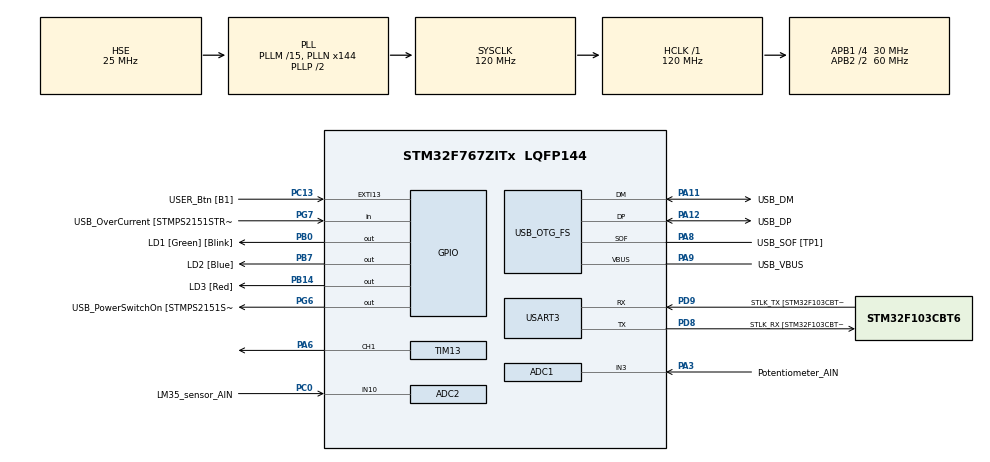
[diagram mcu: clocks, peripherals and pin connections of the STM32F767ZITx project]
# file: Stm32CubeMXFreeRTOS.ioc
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ADC1.Channel-4\#ChannelRegularConversion=ADC_CHANNEL_3
ADC1.ClockPrescaler=ADC_CLOCK_SYNC_PCLK_DIV4
ADC1.ContinuousConvMode=ENABLE
ADC1.EOCSelection=ADC_EOC_SEQ_CONV
ADC1.NbrOfConversionFlag=1
ADC1.Rank-4\#ChannelRegularConversion=1
ADC1.Resolution=ADC_RESOLUTION_10B
ADC1.SamplingTime-4\#ChannelRegularConversion=ADC_SAMPLETIME_3CYCLES
ADC1.master=1
ADC2.Channel-1\#ChannelRegularConversion=ADC_CHANNEL_10
ADC2.ClockPrescaler=ADC_CLOCK_SYNC_PCLK_DIV4
ADC2.ContinuousConvMode=ENABLE
ADC2.EOCSelection=ADC_EOC_SEQ_CONV
ADC2.NbrOfConversionFlag=1
ADC2.Rank-1\#ChannelRegularConversion=1
ADC2.SamplingTime-1\#ChannelRegularConversion=ADC_SAMPLETIME_3CYCLES
FREERTOS.Events01=ISREvent,Static,ISREventControlBlock
FREERTOS.Queues01=msg_Queue,16,QUEUE_t,0,Static,msg_QueueBuffer,msg_QueueControlBlock
FREERTOS.Tasks01=defaultTask,24,128,StartDefaultTask,Default,NULL,Dynamic,NULL,NULL;BlinkyTask,8,128,StartBlinkyTask,Default,NULL,Dynamic,NULL,NULL;adcReadValueT,8,128,adcReadValueTask,Default,NULL,Static,adcReadValueTBuffer,adcReadValueTControlBlock;readTempT,8,128,readTempTask,Default,NULL,Static,myTask04Buffer,myTask04ControlBlock;pwmLedBrightnes,8,128,pwmLedBrightnessTask,Default,NULL,Static,pwmLedBrightnesBuffer,pwmLedBrightnesControlBlock;usartDebugPrint,8,128,usartDebugPrintTask,Default,NULL,Static,usartDebugPrintBuffer,usartDebugPrintControlBlock;checkISRStateT,24,256,checkISRStateTask,Default,NULL,Static,checkISRStateTBuffer,checkISRStateTControlBlock;rtosRuntimeStat,8,128,rtosRuntimeStatsTask,Default,NULL,Static,rtosRuntimeStatBuffer,rtosRuntimeStatControlBlock
FREERTOS.configGENERATE_RUN_TIME_STATS=1
FREERTOS.configUSE_NEWLIB_REENTRANT=1
FREERTOS.configUSE_STATS_FORMATTING_FUNCTIONS=1
Mcu.Family=STM32F7
Mcu.Name=STM32F767ZITx
Mcu.Package=LQFP144
NVIC.EXTI15_10_IRQn=true\:5\:0\:false\:false\:true\:true\:true\:true\:true
NVIC.PriorityGroup=NVIC_PRIORITYGROUP_4
NVIC.TIM1_UP_TIM10_IRQn=true\:5\:0\:false\:false\:true\:false\:true\:true\:true
NVIC.TIM8_UP_TIM13_IRQn=true\:15\:0\:false\:false\:true\:false\:false\:true\:true
NVIC.TimeBase=TIM8_UP_TIM13_IRQn
NVIC.TimeBaseIP=TIM8
PA11.GPIO_Label=USB_DM
PA11.Mode=Device_Only
PA11.Signal=USB_OTG_FS_DM
PA12.GPIO_Label=USB_DP
PA12.Mode=Device_Only
PA12.Signal=USB_OTG_FS_DP
PA13.GPIO_Label=TMS
PA13.Mode=Trace_Asynchronous_SW
PA13.Signal=SYS_JTMS-SWDIO
PA14.GPIO_Label=TCK
PA14.Mode=Trace_Asynchronous_SW
PA14.Signal=SYS_JTCK-SWCLK
PA3.GPIO_Label=Potentiometer_AIN
PA3.Signal=ADCx_IN3
PA6.Signal=S_TIM13_CH1
PA8.GPIO_Label=USB_SOF [TP1]
PA8.Mode=Activate_SOF_FS
PA8.Signal=USB_OTG_FS_SOF
PA9.GPIO_Label=USB_VBUS
PA9.Mode=Activate_VBUS
PA9.Signal=USB_OTG_FS_VBUS
PB0.GPIO_Label=LD1 [Green] [Blink]
PB0.Signal=GPIO_Output
PB14.GPIO_Label=LD3 [Red]
PB14.Signal=GPIO_Output
PB3.Mode=Trace_Asynchronous_SW
PB3.Signal=SYS_JTDO-SWO
PB7.GPIO_Label=LD2 [Blue]
PB7.Signal=GPIO_Output
PC0.GPIO_Label=LM35_sensor_AIN
PC0.Signal=ADCx_IN10
PC13.GPIO_Label=USER_Btn [B1]
PC13.GPIO_ModeDefaultEXTI=GPIO_MODE_IT_FALLING
PC13.GPIO_PuPd=GPIO_NOPULL
PC13.Signal=GPXTI13
PC14/OSC32_IN.Mode=LSE-External-Oscillator
PC14/OSC32_IN.Signal=RCC_OSC32_IN
PC15/OSC32_OUT.Mode=LSE-External-Oscillator
PC15/OSC32_OUT.Signal=RCC_OSC32_OUT
PD8.GPIO_Label=STLK_RX [STM32F103CBT6_PA3]
PD8.Mode=Asynchronous
PD8.Signal=USART3_TX
PD9.GPIO_Label=STLK_TX [STM32F103CBT6_PA2]
PD9.Mode=Asynchronous
PD9.Signal=USART3_RX
PG6.GPIO_Label=USB_PowerSwitchOn [STMPS2151STR_EN]
PG6.Signal=GPIO_Output
PG7.GPIO_Label=USB_OverCurrent [STMPS2151STR_FAULT]
PG7.Signal=GPIO_Input
PH0/OSC_IN.GPIO_Label=MCO [STM32F103CBT6_PA8]
PH0/OSC_IN.Mode=HSE-External-Oscillator
PH0/OSC_IN.Signal=RCC_OSC_IN
PH1/OSC_OUT.Mode=HSE-External-Oscillator
PH1/OSC_OUT.Signal=RCC_OSC_OUT
ProjectManager.HeapSize=0x200
ProjectManager.StackSize=0x400
ProjectManager.TargetToolchain=STM32CubeIDE
RCC.48MHZClocksFreq_Value=24000000
RCC.AHBFreq_Value=120000000
RCC.APB1CLKDivider=RCC_HCLK_DIV4
RCC.APB1Freq_Value=30000000
RCC.APB1TimFreq_Value=60000000
RCC.APB2CLKDivider=RCC_HCLK_DIV2
RCC.APB2Freq_Value=60000000
RCC.APB2TimFreq_Value=120000000
RCC.CortexFreq_Value=120000000
RCC.HCLKFreq_Value=120000000
RCC.HSE_VALUE=25000000
RCC.HSI_VALUE=16000000
RCC.PLLM=15
RCC.PLLMUL=RCC_PLL_MUL9
RCC.PLLN=144
RCC.PLLQ=5
RCC.PRESCALERUSB=RCC_USBCLKSOURCE_PLL_DIV1_5
RCC.SYSCLKFreq_VALUE=120000000
RCC.SYSCLKSource=RCC_SYSCLKSOURCE_PLLCLK
RCC.SYSCLKSourceVirtual=RCC_SYSCLKSOURCE_PLLCLK
RCC.USART3CLockSelection=RCC_USART3CLKSOURCE_HSI
RCC.USBFreq_Value=48000000
RCC.VCOOutputFreq_Value=240000000
SH.ADCx_IN10.0=ADC2_IN10,IN10
SH.ADCx_IN3.0=ADC1_IN3,IN3
SH.S_TIM13_CH1.0=TIM13_CH1,PWM Generation1 CH1
TIM10.Period=956
TIM13.Channel=TIM_CHANNEL_1
TIM13.Period=1023
TIM13.Prescaler=0
USART3.VirtualMode-Asynchronous=VM_ASYNC
USB_OTG_FS.VirtualMode=Device_Only
VP_FREERTOS_VS_CMSIS_V2.Mode=CMSIS_V2
VP_SYS_VS_tim8.Mode=TIM8
VP_TIM10_VS_ClockSourceINT.Mode=Enable_Timer
VP_TIM13_VS_ClockSourceINT.Mode=Enable_Timer
board=NUCLEO-F767ZI

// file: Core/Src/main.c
/* USER CODE BEGIN Header */
/**
  ******************************************************************************
  * @file           : main.c
  * @brief          : Main program body
  ******************************************************************************
  * @attention
  *
  * Copyright (c) 2023 STMicroelectronics.
  * All rights reserved.
  *
  * This software is licensed under terms that can be found in the LICENSE file
  * in the root directory of this software component.
  * If no LICENSE file comes with this software, it is provided AS-IS.
  *
  ******************************************************************************
  */
/* USER CODE END Header */
#include "main.h"
#include "cmsis_os.h"

/* USER CODE BEGIN Includes */
#include "string.h"
#include "stdlib.h"
#include "stdio.h"
#include "stdbool.h"
/* USER CODE END Includes */
#if (SYSPROG_PROFILER == 1)
#include <SysprogsProfiler.h>
#endif
typedef StaticTask_t osStaticThreadDef_t;
typedef StaticQueue_t osStaticMessageQDef_t;
typedef StaticEventGroup_t osStaticEventGroupDef_t;
/* USER CODE BEGIN PTD */

typedef struct {
	char msg_buf[120];
	uint16_t adc_val;
} QUEUE_t;

/* USER CODE END PTD */

/* USER CODE BEGIN PD */
#define ADC_RESOLUTION          (uint16_t)(4095)
#define ADC_VREF                (uint16_t)(3300)
#define TM35_MV_TO_C						(10)
#define LED_ISR_FLAG			(uint32_t)(0x51)

/* USER CODE END PD */

ADC_HandleTypeDef hadc1;
ADC_HandleTypeDef hadc2;

TIM_HandleTypeDef htim10;
TIM_HandleTypeDef htim13;

UART_HandleTypeDef huart3;

PCD_HandleTypeDef hpcd_USB_OTG_FS;

/* Definitions for defaultTask */
osThreadId_t defaultTaskHandle;
const osThreadAttr_t defaultTask_attributes = {
	.name = "defaultTask",
	.stack_size = 128 * 4,
	.priority = (osPriority_t) osPriorityNormal,
};
/* Definitions for BlinkyTask */
osThreadId_t BlinkyTaskHandle;
const osThreadAttr_t BlinkyTask_attributes = {
	.name = "BlinkyTask",
	.stack_size = 128 * 4,
	.priority = (osPriority_t) osPriorityLow,
};
/* Definitions for adcReadValueT */
osThreadId_t adcReadValueTHandle;
uint32_t adcReadValueTBuffer[128];
osStaticThreadDef_t adcReadValueTControlBlock;
const osThreadAttr_t adcReadValueT_attributes = {
	.name = "adcReadValueT",
	.cb_mem = &adcReadValueTControlBlock,
	.cb_size = sizeof(adcReadValueTControlBlock),
	.stack_mem = &adcReadValueTBuffer[0],
	.stack_size = sizeof(adcReadValueTBuffer),
	.priority = (osPriority_t) osPriorityLow,
};
/* Definitions for readTempT */
osThreadId_t readTempTHandle;
uint32_t myTask04Buffer[128];
osStaticThreadDef_t myTask04ControlBlock;
const osThreadAttr_t readTempT_attributes = {
	.name = "readTempT",
	.cb_mem = &myTask04ControlBlock,
	.cb_size = sizeof(myTask04ControlBlock),
	.stack_mem = &myTask04Buffer[0],
	.stack_size = sizeof(myTask04Buffer),
	.priority = (osPriority_t) osPriorityLow,
};
/* Definitions for pwmLedBrightnes */
osThreadId_t pwmLedBrightnesHandle;
uint32_t pwmLedBrightnesBuffer[128];
osStaticThreadDef_t pwmLedBrightnesControlBlock;
const osThreadAttr_t pwmLedBrightnes_attributes = {
	.name = "pwmLedBrightnes",
	.cb_mem = &pwmLedBrightnesControlBlock,
	.cb_size = sizeof(pwmLedBrightnesControlBlock),
	.stack_mem = &pwmLedBrightnesBuffer[0],
	.stack_size = sizeof(pwmLedBrightnesBuffer),
	.priority = (osPriority_t) osPriorityLow,
};
/* Definitions for usartDebugPrint */
osThreadId_t usartDebugPrintHandle;
uint32_t usartDebugPrintBuffer[128];
osStaticThreadDef_t usartDebugPrintControlBlock;
const osThreadAttr_t usartDebugPrint_attributes = {
	.name = "usartDebugPrint",
	.cb_mem = &usartDebugPrintControlBlock,
	.cb_size = sizeof(usartDebugPrintControlBlock),
	.stack_mem = &usartDebugPrintBuffer[0],
	.stack_size = sizeof(usartDebugPrintBuffer),
	.priority = (osPriority_t) osPriorityLow,
};
/* Definitions for checkISRStateT */
osThreadId_t checkISRStateTHandle;
uint32_t checkISRStateTBuffer[256];
osStaticThreadDef_t checkISRStateTControlBlock;
const osThreadAttr_t checkISRStateT_attributes = {
	.name = "checkISRStateT",
	.cb_mem = &checkISRStateTControlBlock,
	.cb_size = sizeof(checkISRStateTControlBlock),
	.stack_mem = &checkISRStateTBuffer[0],
	.stack_size = sizeof(checkISRStateTBuffer),
	.priority = (osPriority_t) osPriorityNormal,
};
/* Definitions for rtosRuntimeStat */
osThreadId_t rtosRuntimeStatHandle;
uint32_t rtosRuntimeStatBuffer[128];
osStaticThreadDef_t rtosRuntimeStatControlBlock;
const osThreadAttr_t rtosRuntimeStat_attributes = {
	.name = "rtosRuntimeStat",
	.cb_mem = &rtosRuntimeStatControlBlock,
	.cb_size = sizeof(rtosRuntimeStatControlBlock),
	.stack_mem = &rtosRuntimeStatBuffer[0],
	.stack_size = sizeof(rtosRuntimeStatBuffer),
	.priority = (osPriority_t) osPriorityLow,
};
/* Definitions for msg_Queue */
osMessageQueueId_t msg_QueueHandle;
uint8_t msg_QueueBuffer[16 * sizeof(QUEUE_t)];
osStaticMessageQDef_t msg_QueueControlBlock;
const osMessageQueueAttr_t msg_Queue_attributes = {
	.name = "msg_Queue",
	.cb_mem = &msg_QueueControlBlock,
	.cb_size = sizeof(msg_QueueControlBlock),
	.mq_mem = &msg_QueueBuffer,
	.mq_size = sizeof(msg_QueueBuffer)
};
/* Definitions for ISREvent */
osEventFlagsId_t ISREventHandle;
osStaticEventGroupDef_t ISREventControlBlock;
const osEventFlagsAttr_t ISREvent_attributes = {
	.name = "ISREvent",
	.cb_mem = &ISREventControlBlock,
	.cb_size = sizeof(ISREventControlBlock),
};
/* USER CODE BEGIN PV */
#if (FREERTOS_PROFILER == 1)
volatile unsigned long ulHighFrequencyTimerTicks;
#endif

TaskHandle_t myTaskLedBlink = NULL;

osEventFlagsId_t EventGroup1;
/* USER CODE END PV */

void SystemClock_Config(void);
static void MX_GPIO_Init(void);
static void MX_USB_OTG_FS_PCD_Init(void);
static void MX_ADC1_Init(void);
static void MX_TIM13_Init(void);
static void MX_ADC2_Init(void);
static void MX_TIM10_Init(void);
static void MX_USART3_UART_Init(void);
void StartDefaultTask(void *argument);
void StartBlinkyTask(void *argument);
void adcReadValueTask(void *argument);
void readTempTask(void *argument);
void pwmLedBrightnessTask(void *argument);
void usartDebugPrintTask(void *argument);
void checkISRStateTask(void *argument);
void rtosRuntimeStatsTask(void *argument);

/* USER CODE BEGIN PFP */
void ledBlinkBlue(void *pvParameters);
static uint16_t getTemperature(uint16_t adc_raw_value);
static void printUsartMessage(char* message);

void configureTimerForRunTimeStats(void);
unsigned long getRunTimeCounterValue(void);
/* USER CODE END PFP */

/* USER CODE BEGIN 0 */

/*
 *You will see that real-time watch window will be empty.
 *This happens because the default implementation of the
 *instrumenting profiler and real-time watch relies on the
 *debug cycle count register (DWT_CYCCNT) that is not supported
 *on STM32F7 and is hence always zero
 *
 *The StartDelayCountingTimer() function will configure TIM3
 *to run at half the system clock speed.
 *As the hardware counter is only 16 bits wide,
 *the TIM3_IRQHandler() function will increase
 *the g_TimerCounter value each time an overflow happens
 *to keep the track of the global time.
 *The SysprogsInstrumentingProfiler_ReadTimerValue()
 *function will read the TIM3 counter value and combine
 *it with the g_TimerCounter to get a 48-bit value.
 *Finally SysprogsInstrumentingProfiler_QueryAndResetPerformanceCounter()
 *called by the profiler will return the amount of ticks passed since the last call to it.
 **/
#if (STM32_F7_TIMER_SRC == 1)
static TIM_HandleTypeDef s_TimerInstance = {
    .Instance = TIM3
};

static unsigned g_TimerCounter;

extern void TIM3_IRQHandler()
{
    HAL_TIM_IRQHandler(&s_TimerInstance);
    g_TimerCounter++;
}

void StartDelayCountingTimer()
{
    __TIM3_CLK_ENABLE();
    s_TimerInstance.Init.Prescaler = 1;
    s_TimerInstance.Init.CounterMode = TIM_COUNTERMODE_UP;
    s_TimerInstance.Init.Period = 0xFFFF;
    s_TimerInstance.Init.ClockDivision = TIM_CLOCKDIVISION_DIV1;
    s_TimerInstance.Init.RepetitionCounter = 0;
    HAL_TIM_Base_Init(&s_TimerInstance);
    HAL_TIM_Base_Start_IT(&s_TimerInstance);
    HAL_NVIC_EnableIRQ(TIM3_IRQn);
    HAL_NVIC_SetPriority(TIM3_IRQn, 7, 0);
}

unsigned long long SysprogsInstrumentingProfiler_ReadTimerValue()
{
    int primask = __get_PRIMASK();
    __set_PRIMASK(1);
    unsigned lowWord = __HAL_TIM_GET_COUNTER(&s_TimerInstance);
    unsigned highWord;
    if (lowWord < 1024)
    {
        highWord = g_TimerCounter;
        if (HAL_NVIC_GetPendingIRQ(TIM3_IRQn))
            highWord++;
    }
    else
        highWord = g_TimerCounter;
    __set_PRIMASK(primask);

    return (((unsigned long long)highWord) << 16) | lowWord;
}

extern unsigned SysprogsInstrumentingProfiler_QueryAndResetPerformanceCounter()
{
    static unsigned long long s_PrevValue;
    unsigned long long value = SysprogsInstrumentingProfiler_ReadTimerValue();
    unsigned long long elapsed = value - s_PrevValue;
    s_PrevValue = value;
    if (elapsed > UINT32_MAX)
        return UINT32_MAX;
    else
        return (unsigned)elapsed;
}
#endif

#if (SWO_DEBUG == 1)

/* Override low-level _write system call */
int _write(int file, char *ptr, int len)
{
	/* Implement your write code here, this is used by puts and printf for example */
	int i = 0;
	for (i = 0; i < len; i++)
		ITM_SendChar((*ptr++));
	return len;
}

#endif
/* USER CODE END 0 */

int main(void)
{

	/* MCU Configuration--------------------------------------------------------*/

	/* Reset of all peripherals, Initializes the Flash interface and the Systick. */
	HAL_Init();

	/* Configure the system clock */
	SystemClock_Config();

	/* USER CODE BEGIN SysInit */
	//InitializeSamplingProfiler();
	//  vTraceEnable(TRC_START);

	  /* USER CODE END SysInit */

	  /* Initialize all configured peripherals */
	MX_GPIO_Init();
	MX_USB_OTG_FS_PCD_Init();
	MX_ADC1_Init();
	MX_TIM13_Init();
	MX_ADC2_Init();
	MX_TIM10_Init();
	MX_USART3_UART_Init();
	/* USER CODE BEGIN 2 */

	HAL_ADC_Start(&hadc1);
	HAL_ADC_Start(&hadc2);

	HAL_TIM_PWM_Start(&htim13, TIM_CHANNEL_1);

	/* USER CODE END 2 */

	/* Init scheduler */
	osKernelInitialize();

	/* USER CODE BEGIN RTOS_MUTEX */
#if (SYSPROG_PROFILER == 1)
	InitializeInstrumentingProfiler();

	/*call StartDelayCountingTimer() after InitializeInstrumentingProfiler()*/
#if (STM32_F7_TIMER_SRC == 1)
	StartDelayCountingTimer();
#endif

#endif
	/* USER CODE END RTOS_MUTEX */

	/* Create the queue(s) */
	/* creation of msg_Queue */
	msg_QueueHandle = osMessageQueueNew(16, sizeof(QUEUE_t), &msg_Queue_attributes);

	/* Create the thread(s) */
	/* creation of defaultTask */
	defaultTaskHandle = osThreadNew(StartDefaultTask, NULL, &defaultTask_attributes);

	/* creation of BlinkyTask */
	BlinkyTaskHandle = osThreadNew(StartBlinkyTask, NULL, &BlinkyTask_attributes);

	/* creation of adcReadValueT */
	adcReadValueTHandle = osThreadNew(adcReadValueTask, NULL, &adcReadValueT_attributes);

	/* creation of readTempT */
	readTempTHandle = osThreadNew(readTempTask, NULL, &readTempT_attributes);

	/* creation of pwmLedBrightnes */
	pwmLedBrightnesHandle = osThreadNew(pwmLedBrightnessTask, NULL, &pwmLedBrightnes_attributes);

	/* creation of usartDebugPrint */
	usartDebugPrintHandle = osThreadNew(usartDebugPrintTask, NULL, &usartDebugPrint_attributes);

	/* creation of checkISRStateT */
	checkISRStateTHandle = osThreadNew(checkISRStateTask, NULL, &checkISRStateT_attributes);

	/* creation of rtosRuntimeStat */
	rtosRuntimeStatHandle = osThreadNew(rtosRuntimeStatsTask, NULL, &rtosRuntimeStat_attributes);

	/* USER CODE BEGIN RTOS_THREADS */

	EventGroup1 = osEventFlagsNew(NULL);
	/* add threads, ... */
	xTaskCreate(
		  ledBlinkBlue,
		"led_blinker",
		128,
		NULL,
		osPriorityLow,
		&myTaskLedBlink);

	/* USER CODE END RTOS_THREADS */

	/* Create the event(s) */
	/* creation of ISREvent */
	ISREventHandle = osEventFlagsNew(&ISREvent_attributes);

	/* Start scheduler */
	osKernelStart();
	/* We should never get here as control is now taken by the scheduler */
	/* Infinite loop */
	while (1)
	{

	}
}

void SystemClock_Config(void)
{
	RCC_OscInitTypeDef RCC_OscInitStruct = { 0 };
	RCC_ClkInitTypeDef RCC_ClkInitStruct = { 0 };

	/** Configure LSE Drive Capability
	*/
	HAL_PWR_EnableBkUpAccess();

	/** Configure the main internal regulator output voltage
	*/
	__HAL_RCC_PWR_CLK_ENABLE();
	__HAL_PWR_VOLTAGESCALING_CONFIG(PWR_REGULATOR_VOLTAGE_SCALE3);

	/** Initializes the RCC Oscillators according to the specified parameters
	* in the RCC_OscInitTypeDef structure.
	*/
	RCC_OscInitStruct.OscillatorType = RCC_OSCILLATORTYPE_HSI | RCC_OSCILLATORTYPE_HSE;
	RCC_OscInitStruct.HSEState = RCC_HSE_ON;
	RCC_OscInitStruct.HSIState = RCC_HSI_ON;
	RCC_OscInitStruct.HSICalibrationValue = RCC_HSICALIBRATION_DEFAULT;
	RCC_OscInitStruct.PLL.PLLState = RCC_PLL_ON;
	RCC_OscInitStruct.PLL.PLLSource = RCC_PLLSOURCE_HSE;
	RCC_OscInitStruct.PLL.PLLM = 15;
	RCC_OscInitStruct.PLL.PLLN = 144;
	RCC_OscInitStruct.PLL.PLLP = RCC_PLLP_DIV2;
	RCC_OscInitStruct.PLL.PLLQ = 5;
	RCC_OscInitStruct.PLL.PLLR = 2;
	if (HAL_RCC_OscConfig(&RCC_OscInitStruct) != HAL_OK)
	{
		Error_Handler();
	}

	/** Initializes the CPU, AHB and APB buses clocks
	*/
	RCC_ClkInitStruct.ClockType = RCC_CLOCKTYPE_HCLK | RCC_CLOCKTYPE_SYSCLK
	                            | RCC_CLOCKTYPE_PCLK1 | RCC_CLOCKTYPE_PCLK2;
	RCC_ClkInitStruct.SYSCLKSource = RCC_SYSCLKSOURCE_PLLCLK;
	RCC_ClkInitStruct.AHBCLKDivider = RCC_SYSCLK_DIV1;
	RCC_ClkInitStruct.APB1CLKDivider = RCC_HCLK_DIV4;
	RCC_ClkInitStruct.APB2CLKDivider = RCC_HCLK_DIV2;

	if (HAL_RCC_ClockConfig(&RCC_ClkInitStruct, FLASH_LATENCY_3) != HAL_OK)
	{
		Error_Handler();
	}
}

static void MX_ADC1_Init(void)
{

	ADC_ChannelConfTypeDef sConfig = { 0 };

	/** Configure the global features of the ADC (Clock, Resolution, Data Alignment and number of conversion)
	*/
	hadc1.Instance = ADC1;
	hadc1.Init.ClockPrescaler = ADC_CLOCK_SYNC_PCLK_DIV4;
	hadc1.Init.Resolution = ADC_RESOLUTION_10B;
	hadc1.Init.ScanConvMode = ADC_SCAN_DISABLE;
	hadc1.Init.ContinuousConvMode = ENABLE;
	hadc1.Init.DiscontinuousConvMode = DISABLE;
	hadc1.Init.ExternalTrigConvEdge = ADC_EXTERNALTRIGCONVEDGE_NONE;
	hadc1.Init.ExternalTrigConv = ADC_SOFTWARE_START;
	hadc1.Init.DataAlign = ADC_DATAALIGN_RIGHT;
	hadc1.Init.NbrOfConversion = 1;
	hadc1.Init.DMAContinuousRequests = DISABLE;
	hadc1.Init.EOCSelection = ADC_EOC_SEQ_CONV;
	if (HAL_ADC_Init(&hadc1) != HAL_OK)
	{
		Error_Handler();
	}

	/** Configure for the selected ADC regular channel its corresponding rank in the sequencer and its sample time.
	*/
	sConfig.Channel = ADC_CHANNEL_3;
	sConfig.Rank = ADC_REGULAR_RANK_1;
	sConfig.SamplingTime = ADC_SAMPLETIME_3CYCLES;
	if (HAL_ADC_ConfigChannel(&hadc1, &sConfig) != HAL_OK)
	{
		Error_Handler();
	}

}

static void MX_ADC2_Init(void)
{

	ADC_ChannelConfTypeDef sConfig = { 0 };

	/** Configure the global features of the ADC (Clock, Resolution, Data Alignment and number of conversion)
	*/
	hadc2.Instance = ADC2;
	hadc2.Init.ClockPrescaler = ADC_CLOCK_SYNC_PCLK_DIV4;
	hadc2.Init.Resolution = ADC_RESOLUTION_12B;
	hadc2.Init.ScanConvMode = ADC_SCAN_DISABLE;
	hadc2.Init.ContinuousConvMode = ENABLE;
	hadc2.Init.DiscontinuousConvMode = DISABLE;
	hadc2.Init.ExternalTrigConvEdge = ADC_EXTERNALTRIGCONVEDGE_NONE;
	hadc2.Init.ExternalTrigConv = ADC_SOFTWARE_START;
	hadc2.Init.DataAlign = ADC_DATAALIGN_RIGHT;
	hadc2.Init.NbrOfConversion = 1;
	hadc2.Init.DMAContinuousRequests = DISABLE;
	hadc2.Init.EOCSelection = ADC_EOC_SEQ_CONV;
	if (HAL_ADC_Init(&hadc2) != HAL_OK)
	{
		Error_Handler();
	}

	/** Configure for the selected ADC regular channel its corresponding rank in the sequencer and its sample time.
	*/
	sConfig.Channel = ADC_CHANNEL_10;
	sConfig.Rank = ADC_REGULAR_RANK_1;
	sConfig.SamplingTime = ADC_SAMPLETIME_3CYCLES;
	if (HAL_ADC_ConfigChannel(&hadc2, &sConfig) != HAL_OK)
	{
		Error_Handler();
	}

}

static void MX_TIM10_Init(void)
{

	htim10.Instance = TIM10;
	htim10.Init.Prescaler = 0;
	htim10.Init.CounterMode = TIM_COUNTERMODE_UP;
	htim10.Init.Period = 956;
	htim10.Init.ClockDivision = TIM_CLOCKDIVISION_DIV1;
	htim10.Init.AutoReloadPreload = TIM_AUTORELOAD_PRELOAD_DISABLE;
	if (HAL_TIM_Base_Init(&htim10) != HAL_OK)
	{
		Error_Handler();
	}

}

static void MX_TIM13_Init(void)
{

	TIM_OC_InitTypeDef sConfigOC = { 0 };

	htim13.Instance = TIM13;
	htim13.Init.Prescaler = 0;
	htim13.Init.CounterMode = TIM_COUNTERMODE_UP;
	htim13.Init.Period = 1023;
	htim13.Init.ClockDivision = TIM_CLOCKDIVISION_DIV1;
	htim13.Init.AutoReloadPreload = TIM_AUTORELOAD_PRELOAD_DISABLE;
	if (HAL_TIM_Base_Init(&htim13) != HAL_OK)
	{
		Error_Handler();
	}
	if (HAL_TIM_PWM_Init(&htim13) != HAL_OK)
	{
		Error_Handler();
	}
	sConfigOC.OCMode = TIM_OCMODE_PWM1;
	sConfigOC.Pulse = 0;
	sConfigOC.OCPolarity = TIM_OCPOLARITY_HIGH;
	sConfigOC.OCFastMode = TIM_OCFAST_DISABLE;
	if (HAL_TIM_PWM_ConfigChannel(&htim13, &sConfigOC, TIM_CHANNEL_1) != HAL_OK)
	{
		Error_Handler();
	}
	HAL_TIM_MspPostInit(&htim13);

}

static void MX_USART3_UART_Init(void)
{

	huart3.Instance = USART3;
	huart3.Init.BaudRate = 115200;
	huart3.Init.WordLength = UART_WORDLENGTH_8B;
	huart3.Init.StopBits = UART_STOPBITS_1;
	huart3.Init.Parity = UART_PARITY_NONE;
	huart3.Init.Mode = UART_MODE_TX_RX;
	huart3.Init.HwFlowCtl = UART_HWCONTROL_NONE;
	huart3.Init.OverSampling = UART_OVERSAMPLING_16;
	huart3.Init.OneBitSampling = UART_ONE_BIT_SAMPLE_DISABLE;
	huart3.AdvancedInit.AdvFeatureInit = UART_ADVFEATURE_NO_INIT;
	if (HAL_UART_Init(&huart3) != HAL_OK)
	{
		Error_Handler();
	}

}

static void MX_USB_OTG_FS_PCD_Init(void)
{

	hpcd_USB_OTG_FS.Instance = USB_OTG_FS;
	hpcd_USB_OTG_FS.Init.dev_endpoints = 6;
	hpcd_USB_OTG_FS.Init.speed = PCD_SPEED_FULL;
	hpcd_USB_OTG_FS.Init.dma_enable = DISABLE;
	hpcd_USB_OTG_FS.Init.phy_itface = PCD_PHY_EMBEDDED;
	hpcd_USB_OTG_FS.Init.Sof_enable = ENABLE;
	hpcd_USB_OTG_FS.Init.low_power_enable = DISABLE;
	hpcd_USB_OTG_FS.Init.lpm_enable = DISABLE;
	hpcd_USB_OTG_FS.Init.vbus_sensing_enable = ENABLE;
	hpcd_USB_OTG_FS.Init.use_dedicated_ep1 = DISABLE;
	if (HAL_PCD_Init(&hpcd_USB_OTG_FS) != HAL_OK)
	{
		Error_Handler();
	}

}

static void MX_GPIO_Init(void)
{
	GPIO_InitTypeDef GPIO_InitStruct = { 0 };

	  /* GPIO Ports Clock Enable */
	__HAL_RCC_GPIOC_CLK_ENABLE();
	__HAL_RCC_GPIOH_CLK_ENABLE();
	__HAL_RCC_GPIOA_CLK_ENABLE();
	__HAL_RCC_GPIOB_CLK_ENABLE();
	__HAL_RCC_GPIOD_CLK_ENABLE();
	__HAL_RCC_GPIOG_CLK_ENABLE();

	/*Configure GPIO pin Output Level */
	HAL_GPIO_WritePin(GPIOB, LD1_Pin | LD3_Pin | LD2_Pin, GPIO_PIN_RESET);

	/*Configure GPIO pin Output Level */
	HAL_GPIO_WritePin(USB_PowerSwitchOn_GPIO_Port, USB_PowerSwitchOn_Pin, GPIO_PIN_RESET);

	/*Configure GPIO pin : USER_Btn_Pin */
	GPIO_InitStruct.Pin = USER_Btn_Pin;
	GPIO_InitStruct.Mode = GPIO_MODE_IT_FALLING;
	GPIO_InitStruct.Pull = GPIO_NOPULL;
	HAL_GPIO_Init(USER_Btn_GPIO_Port, &GPIO_InitStruct);

	/*Configure GPIO pins : LD1_Pin LD3_Pin LD2_Pin */
	GPIO_InitStruct.Pin = LD1_Pin | LD3_Pin | LD2_Pin;
	GPIO_InitStruct.Mode = GPIO_MODE_OUTPUT_PP;
	GPIO_InitStruct.Pull = GPIO_NOPULL;
	GPIO_InitStruct.Speed = GPIO_SPEED_FREQ_LOW;
	HAL_GPIO_Init(GPIOB, &GPIO_InitStruct);

	/*Configure GPIO pin : USB_PowerSwitchOn_Pin */
	GPIO_InitStruct.Pin = USB_PowerSwitchOn_Pin;
	GPIO_InitStruct.Mode = GPIO_MODE_OUTPUT_PP;
	GPIO_InitStruct.Pull = GPIO_NOPULL;
	GPIO_InitStruct.Speed = GPIO_SPEED_FREQ_LOW;
	HAL_GPIO_Init(USB_PowerSwitchOn_GPIO_Port, &GPIO_InitStruct);

	/*Configure GPIO pin : USB_OverCurrent_Pin */
	GPIO_InitStruct.Pin = USB_OverCurrent_Pin;
	GPIO_InitStruct.Mode = GPIO_MODE_INPUT;
	GPIO_InitStruct.Pull = GPIO_NOPULL;
	HAL_GPIO_Init(USB_OverCurrent_GPIO_Port, &GPIO_InitStruct);

	/* EXTI interrupt init*/
	HAL_NVIC_SetPriority(EXTI15_10_IRQn, 5, 0);
	HAL_NVIC_EnableIRQ(EXTI15_10_IRQn);

}

/* USER CODE BEGIN 4 */
#if (FREERTOS_PROFILER == 1)
void configureTimerForRunTimeStats(void)
{
	ulHighFrequencyTimerTicks = 0;
	HAL_TIM_Base_Start_IT(&htim10);
}

unsigned long getRunTimeCounterValue(void)
{
	return ulHighFrequencyTimerTicks;
}

#endif
/**
  * @brief User button IRQ callback function
  * @param uint16_t GPIO_Pin
  * @retval None
  */
void HAL_GPIO_EXTI_Callback(uint16_t GPIO_Pin)
{
	if (GPIO_Pin == USER_Btn_Pin)
	{
		HAL_GPIO_TogglePin(LD3_GPIO_Port, LD3_Pin);
		osEventFlagsSet(EventGroup1, LED_ISR_FLAG);
	}
}

/**
  * @brief calculates temperature from TM35 sensor ADC raw value
  * @param uint16_t adc_raw_value
  * @retval None
  */
static uint16_t getTemperature(uint16_t adc_raw_value)
{
	return (adc_raw_value / TM35_MV_TO_C); /* 10mV / 1C degree*/
}

/**
  * @brief print message via USART interface
  * @param const char* message
  * @retval None
  */
static void printUsartMessage(char* message)
{
	HAL_UART_Transmit(
	     &huart3,
		(uint8_t*)message,
		strlen(message),
		1);
}

/* USER CODE END 4 */

void StartDefaultTask(void *argument)
{
	/* USER CODE BEGIN 5 */
	(void) argument;
	/* Infinite loop */
	for (;;)
	{
		osDelay(1);
	}
	/* USER CODE END 5 */
}

/* USER CODE BEGIN Header_StartBlinkyTask */
/**
* @brief Function implementing the ledBlinkBlue thread (native FreeRTOS API).
* @param argument: Not used
* @retval None
*/
void ledBlinkBlue(void *pvParameters)
{
	(void) pvParameters;
	for (;;)
	{
		HAL_GPIO_TogglePin(LD2_GPIO_Port, LD2_Pin);
		vTaskDelay(100);
	}
}

/**
* @brief Function implementing the BlinkyTask thread.
* @param argument: Not used
* @retval None
*/
/* USER CODE END Header_StartBlinkyTask */
void StartBlinkyTask(void *argument)
{
	/* USER CODE BEGIN StartBlinkyTask */
	(void) argument;
	/* Infinite loop */
	for (;;)
	{
		HAL_GPIO_TogglePin(LD1_GPIO_Port, LD1_Pin);
		osDelay(500);
	}
	/* USER CODE END StartBlinkyTask */
}

void adcReadValueTask(void *argument)
{
	/* USER CODE BEGIN adcReadValueTask */
	(void) argument;
	QUEUE_t message;
	/* Infinite loop */
	for (;;)
	{
		uint16_t adc_value = HAL_ADC_GetValue(&hadc1);

		message.adc_val = adc_value;

		osMessageQueuePut(msg_QueueHandle,
			&message,
			0,
			osWaitForever);

		osDelay(10);
	}
	/* USER CODE END adcReadValueTask */
}

void readTempTask(void *argument)
{
	/* USER CODE BEGIN readTempTask */
	(void) argument;
	QUEUE_t message;
	/* Infinite loop */
	for (;;)
	{
		uint16_t adc_voltage = (ADC_VREF * (uint16_t)HAL_ADC_GetValue(&hadc2)) / ADC_RESOLUTION;
		uint16_t tempC = getTemperature(adc_voltage); /* 10mV / 1C degree*/

		itoa(tempC, message.msg_buf, 10);
		strcat(message.msg_buf, " C :[temperature value]\r\n\0");

		osMessageQueuePut(msg_QueueHandle,
			&message,
			0,
			osWaitForever);

		osDelay(10);
	}
	/* USER CODE END readTempTask */
}

void pwmLedBrightnessTask(void *argument)
{
	/* USER CODE BEGIN pwmLedBrightnessTask */
	(void) argument;
	QUEUE_t message;

	/* Infinite loop */
	for (;;)
	{
		osMessageQueueGet(msg_QueueHandle,
			&message,
			0,
			osWaitForever);

		__HAL_TIM_SET_COMPARE(&htim13, TIM_CHANNEL_1, message.adc_val);

		itoa(message.adc_val, message.msg_buf, 10);
		strcat(message.msg_buf, " :[potentiometer value]\r\n\0");

		osMessageQueuePut(msg_QueueHandle,
			&message,
			0,
			osWaitForever);

		osDelay(10);
	}
	/* USER CODE END pwmLedBrightnessTask */
}

void usartDebugPrintTask(void *argument)
{
	/* USER CODE BEGIN usartDebugPrintTask */
	(void) argument;
	QUEUE_t message;
	//	char msg[20] = "test\r\n\0";
	  /* Infinite loop */
	for (;;)
	{
		osMessageQueueGet(msg_QueueHandle,
			&message,
			0,
			osWaitForever);

		printUsartMessage(&message.msg_buf);

		osDelay(1);
	}
	/* USER CODE END usartDebugPrintTask */
}

void checkISRStateTask(void *argument)
{
	/* USER CODE BEGIN checkISRStateTask */
	(void) argument;

	GPIO_PinState led_gpio_state;

	const char* led_on = "Pin state HIGH [Flag from ISR]\r\n\0";
	const char* led_off = "Pin state LOW [Flag from ISR]\r\n\0";
	const char* led_unknown = "Pin state UNKNOWN [Flag from ISR]\r\n\0";

	QUEUE_t message;
	/* Infinite loop */
	for (;;)
	{

		osEventFlagsWait(EventGroup1,
			LED_ISR_FLAG,
			osFlagsWaitAll,
			osWaitForever);

		led_gpio_state = HAL_GPIO_ReadPin(LD3_GPIO_Port, LD3_Pin);

		switch (led_gpio_state)
		{
		case GPIO_PIN_SET:
			strcpy(message.msg_buf, led_on);
			osMessageQueuePut(msg_QueueHandle,
				&message,
				0,
				osWaitForever);
			break;

		case GPIO_PIN_RESET:
			strcpy(message.msg_buf, led_off);
			osMessageQueuePut(msg_QueueHandle,
				&message,
				0,
				osWaitForever);
			break;

		default:
			strcpy(message.msg_buf, led_unknown);
			osMessageQueuePut(msg_QueueHandle,
				&message,
				0,
				osWaitForever);
			break;
		}

		osDelay(10);
	}
	/* USER CODE END checkISRStateTask */
}

void rtosRuntimeStatsTask(void *argument)
{
	/* USER CODE BEGIN rtosRuntimeStatsTask */
	/* Infinite loop */
	for (;;)
	{
		//	printUsartMessage(json_buf);
		osDelay(10);
	}
	/* USER CODE END rtosRuntimeStatsTask */
}

void HAL_TIM_PeriodElapsedCallback(TIM_HandleTypeDef *htim)
{
	if (htim->Instance == TIM8) {
		HAL_IncTick();
	}
}

void Error_Handler(void)
{
	__disable_irq();
	while (1)
	{
	}
}
